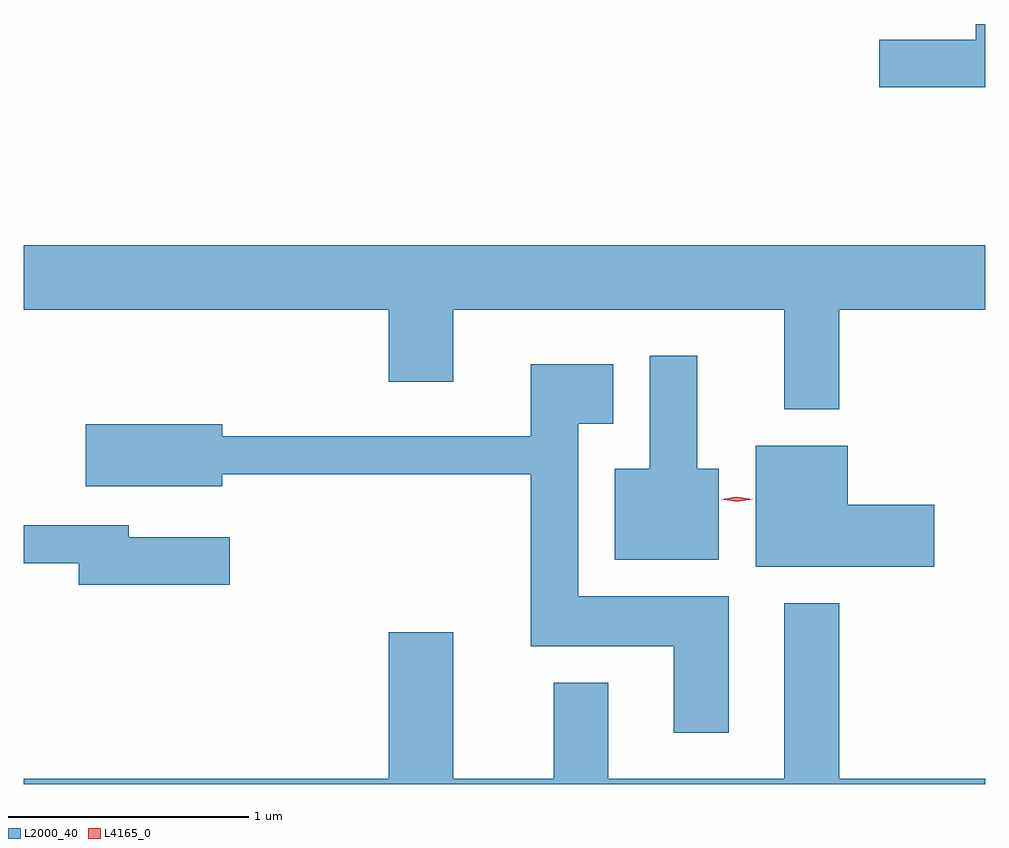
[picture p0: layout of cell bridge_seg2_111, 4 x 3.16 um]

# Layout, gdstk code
import gdstk
lib = gdstk.Library(unit=1e-6, precision=1e-09)
def P(c, l, *ps):  # polygons
    for p in ps: c.add(gdstk.Polygon(p, *l))
L2000_40 = (2000, 40)
L4165_0 = (4165, 0)

bridge_seg2_111 = lib.new_cell('bridge_seg2_111')
P(bridge_seg2_111, L2000_40, [(916.857,1069.484),(916.816,1069.484),(916.816,1069.419),(916.416,1069.419),(916.416,1069.221),(916.857,1069.221)],
  [(916.249,1068.296),(916.857,1068.296),(916.857,1068.564),(912.857,1068.564),(912.857,1068.296),(914.376,1068.296),(914.376,1067.996),(914.644,1067.996),(914.644,1068.296),(916.021,1068.296),(916.021,1067.881),(916.249,1067.881)],
  [(915.749,1067.634),(915.659,1067.634),(915.659,1068.104),(915.461,1068.104),(915.461,1067.634),(915.316,1067.634),(915.316,1067.256),(915.749,1067.256)],
  [(915.789,1067.104),(915.164,1067.104),(915.164,1067.821),(915.309,1067.821),(915.309,1068.069),(914.966,1068.069),(914.966,1067.769),(913.684,1067.769),(913.684,1067.819),(913.116,1067.819),(913.116,1067.561),(913.684,1067.561),(913.684,1067.611),(914.966,1067.611),(914.966,1066.896),(915.561,1066.896),(915.561,1066.536),(915.789,1066.536)],
  [(916.644,1067.484),(916.284,1067.484),(916.284,1067.729),(915.901,1067.729),(915.901,1067.226),(916.644,1067.226)],
  [(913.714,1067.349),(913.294,1067.349),(913.294,1067.399),(912.857,1067.399),(912.857,1067.241),(913.086,1067.241),(913.086,1067.151),(913.714,1067.151)],
  [(916.857,1066.344),(916.249,1066.344),(916.249,1067.074),(916.021,1067.074),(916.021,1066.344),(915.289,1066.344),(915.289,1066.744),(915.061,1066.744),(915.061,1066.344),(914.644,1066.344),(914.644,1066.954),(914.376,1066.954),(914.376,1066.344),(912.857,1066.344),(912.857,1066.323),(916.857,1066.323)])
P(bridge_seg2_111, L4165_0, [(915.824,1067.497),(915.759,1067.507),(915.758,1067.507),(915.759,1067.508),(915.824,1067.517),(915.89,1067.508),(915.89,1067.507),(915.89,1067.507)])

lib.write_gds('bridge_seg2_111.gds')
